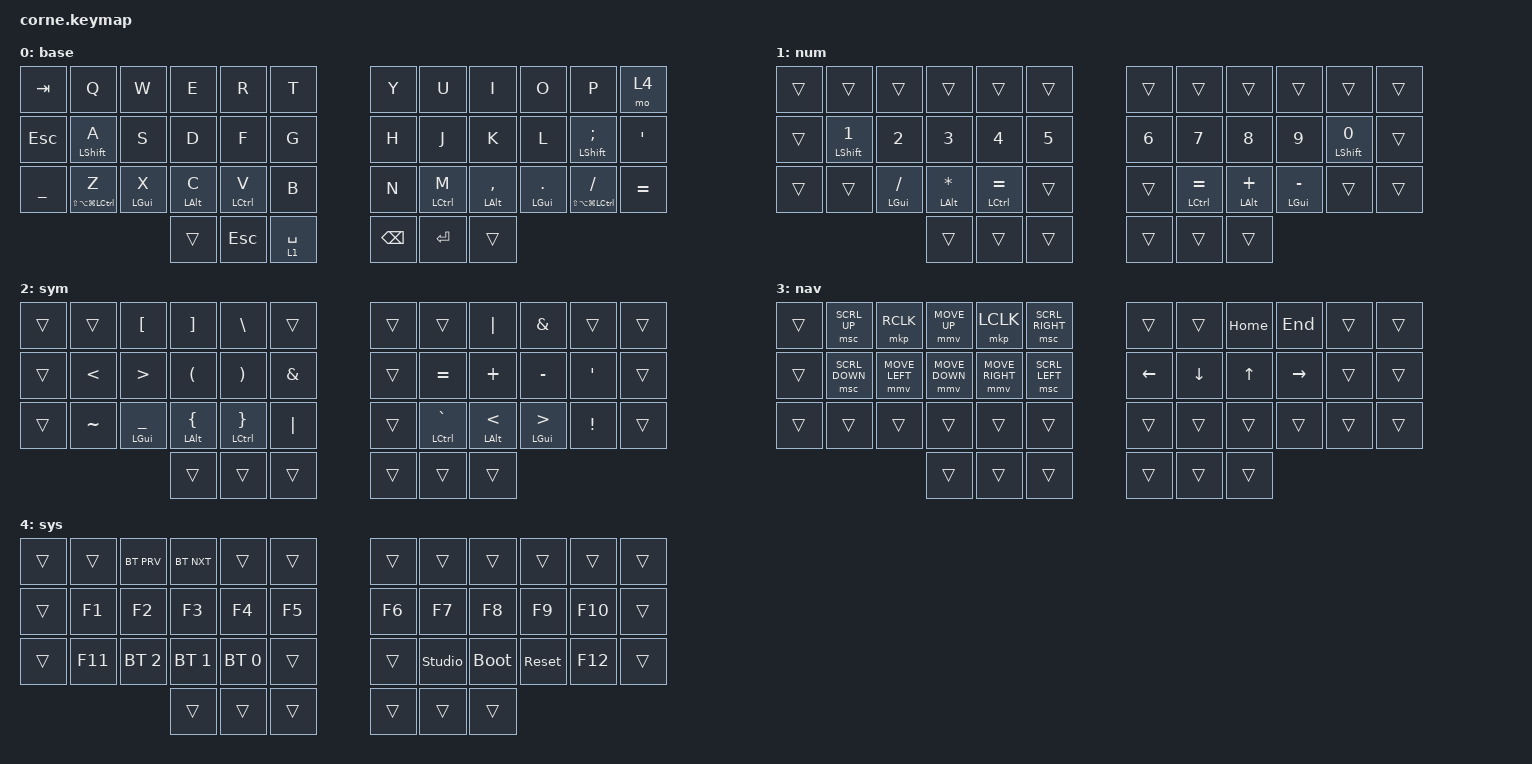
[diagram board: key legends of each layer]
#include <behaviors.dtsi>
#include <dt-bindings/zmk/bt.h>
#include <dt-bindings/zmk/keys.h>
#include <dt-bindings/zmk/pointing.h>

#define DEF 0
#define NAV 1
#define SYM 2
#define ADJ 3
#define EXTRA 4

/ {
    behaviors {
        hm: homerow_mods {
            compatible = "zmk,behavior-hold-tap";
            label = "HOMEROW_MODS";
            #binding-cells = <2>;
            tapping-term-ms = <200>;
            quick_tap_ms = <0>;
            flavor = "tap-preferred";
            bindings = <&kp>, <&kp>;

            quick-tap-ms = <180>;
            global-quick-tap;
        };

        para: para {
            compatible = "zmk,behavior-tap-dance";
            label = "PARA";
            #binding-cells = <0>;
            bindings = <&kp LEFT_PARENTHESIS>, <&kp RIGHT_PARENTHESIS>;
        };

        caps: caps {
            compatible = "zmk,behavior-caps-word";
            label = "CAPS";
            #binding-cells = <0>;
            continue-list = <MINUS BACKSPACE>;
        };

        paraless: paraless {
            compatible = "zmk,behavior-mod-morph";
            label = "PARALESS";
            bindings = <&kp LEFT_PARENTHESIS>, <&kp LESS_THAN>;

            #binding-cells = <0>;
            mods = <(MOD_LSFT)>;
        };

        paragreat: paragreat {
            compatible = "zmk,behavior-mod-morph";
            label = "PARAGREAT";
            bindings = <&kp RIGHT_PARENTHESIS>, <&kp GREATER_THAN>;

            #binding-cells = <0>;
            mods = <(MOD_LSFT)>;
        };
    };

    combos {
        compatible = "zmk,combos";

        rsym {
            bindings = <&mo 2>;
            key-positions = <19 20>;
        };

        lsym {
            bindings = <&mo 2>;
            key-positions = <16 15>;
        };

        rnav {
            bindings = <&mo 3>;
            key-positions = <20 21>;
        };

        lnav {
            bindings = <&mo 3>;
            key-positions = <15 14>;
        };

        lesc {
            bindings = <&kp ESC>;
            key-positions = <16 14>;
        };

        ltab {
            bindings = <&kp TAB>;
            key-positions = <13 16>;
        };

        renter {
            bindings = <&kp ENTER>;
            key-positions = <19 21>;
        };
    };

    //

    keymap {
        compatible = "zmk,keymap";

        base {
            bindings = <
&kp TAB    &kp Q                    &kp W       &kp E       &kp R        &kp T          &kp Y          &kp U        &kp I           &kp O            &kp P                       &mo 4
&kp ESC    &hm LSHFT A              &kp S       &kp D       &kp F        &kp G          &kp H          &kp J        &kp K           &kp L            &hm LSHIFT SEMICOLON        &kp APOS
&kp UNDER  &hm LS(LA(LG(LCTRL))) Z  &hm LGUI X  &hm LALT C  &hm LCTRL V  &kp B          &kp N          &hm LCTRL M  &hm LALT COMMA  &hm LGUI PERIOD  &hm LS(LA(LG(LCTRL))) FSLH  &kp EQUAL
                                                &trans      &kp ESC      &lt 1 SPACE    &kp BACKSPACE  &kp ENTER    &trans
            >;
        };

        num {
            bindings = <
&trans  &trans        &trans         &trans          &trans           &trans    &trans  &trans           &trans         &trans          &trans        &trans
&trans  &hm LSHFT N1  &kp N2         &kp N3          &kp N4           &kp N5    &kp N6  &kp N7           &kp N8         &kp N9          &hm LSHFT N0  &trans
&trans  &trans        &hm LGUI FSLH  &hm LALT ASTRK  &hm LCTRL EQUAL  &trans    &trans  &hm LCTRL EQUAL  &hm LALT PLUS  &hm LGUI MINUS  &trans        &trans
                                     &trans          &trans           &trans    &trans  &trans           &trans
            >;
        };

        sym {
            bindings = <
&trans  &trans     &kp LBKT        &kp RBKT       &kp BACKSLASH   &trans      &trans  &trans           &kp PIPE     &kp AMPS     &trans    &trans
&trans  &kp LT     &kp GT          &kp LPAR       &kp RPAR        &kp AMPS    &trans  &kp EQUAL        &kp PLUS     &kp MINUS    &kp APOS  &trans
&trans  &kp TILDE  &hm LGUI UNDER  &hm LALT LBRC  &hm LCTRL RBRC  &kp PIPE    &trans  &hm LCTRL GRAVE  &hm LALT LT  &hm LGUI GT  &kp EXCL  &trans
                                   &trans         &trans          &trans      &trans  &trans           &trans
            >;
        };

        nav {
            bindings = <
&trans  &msc SCRL_UP    &mkp RCLK       &mmv MOVE_UP    &mkp LCLK        &msc SCRL_RIGHT    &trans    &trans    &kp HOME  &kp END    &trans  &trans
&trans  &msc SCRL_DOWN  &mmv MOVE_LEFT  &mmv MOVE_DOWN  &mmv MOVE_RIGHT  &msc SCRL_LEFT     &kp LEFT  &kp DOWN  &kp UP    &kp RIGHT  &trans  &trans
&trans  &trans          &trans          &trans          &trans           &trans             &trans    &trans    &trans    &trans     &trans  &trans
                                        &trans          &trans           &trans             &trans    &trans    &trans
            >;
        };

        sys {
            bindings = <
&trans  &trans   &bt BT_PRV    &bt BT_NXT    &trans        &trans    &trans  &trans          &trans       &trans      &trans   &trans
&trans  &kp F1   &kp F2        &kp F3        &kp F4        &kp F5    &kp F6  &kp F7          &kp F8       &kp F9      &kp F10  &trans
&trans  &kp F11  &bt BT_SEL 2  &bt BT_SEL 1  &bt BT_SEL 0  &trans    &trans  &studio_unlock  &bootloader  &sys_reset  &kp F12  &trans
                               &trans        &trans        &trans    &trans  &trans          &trans
            >;
        };
    };

    conditional_layers { compatible = "zmk,conditional-layers"; };
};
